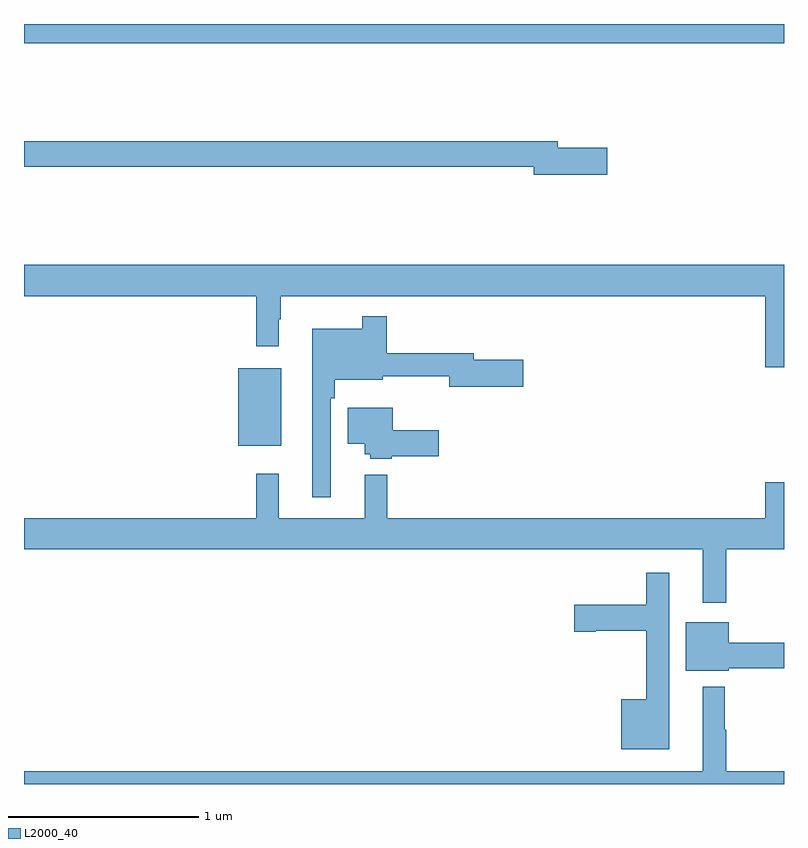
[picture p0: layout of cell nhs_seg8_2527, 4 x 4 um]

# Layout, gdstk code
import gdstk
lib = gdstk.Library(unit=1e-6, precision=1e-09)
def R(c, l, rs):  # rectangles x0, y0, x1, y1
    for r in rs: c.add(gdstk.rectangle(r[:2], r[2:], *l))
def P(c, l, *ps):  # polygons
    for p in ps: c.add(gdstk.Polygon(p, *l))
L2000_40 = (2000, 40)

nhs_seg8_2527 = lib.new_cell('nhs_seg8_2527')
R(nhs_seg8_2527, L2000_40, [(270.128,1147.679,270.355,1148.089), (269,1149.8,273,1149.9)])
P(nhs_seg8_2527, L2000_40, [(272.071,1149.248),(271.81,1149.248),(271.81,1149.284),(269,1149.284),(269,1149.148),(271.682,1149.148),(271.682,1149.106),(272.071,1149.106)],
  [(273,1148.632),(269,1148.632),(269,1148.468),(270.223,1148.468),(270.223,1148.205),(270.34,1148.205),(270.34,1148.345),(270.352,1148.345),(270.352,1148.468),(272.9,1148.468),(272.9,1148.094),(273,1148.094)],
  [(270.615,1147.931),(270.635,1147.931),(270.635,1148.027),(270.889,1148.027),(270.889,1148.046),(271.238,1148.046),(271.238,1147.991),(271.627,1147.991),(271.627,1148.133),(271.366,1148.133),(271.366,1148.167),(270.908,1148.167),(270.908,1148.362),(270.78,1148.362),(270.78,1148.296),(270.518,1148.296),(270.518,1147.41),(270.615,1147.41)],
  [(270.936,1147.624),(271.183,1147.624),(271.183,1147.761),(270.94,1147.761),(270.94,1147.879),(270.704,1147.879),(270.704,1147.691),(270.794,1147.691),(270.794,1147.635),(270.822,1147.635),(270.822,1147.613),(270.936,1147.613)],
  [(272.695,1147.136),(273,1147.136),(273,1147.489),(272.9,1147.489),(272.9,1147.3),(270.911,1147.3),(270.911,1147.528),(270.794,1147.528),(270.794,1147.3),(270.341,1147.3),(270.341,1147.534),(270.223,1147.534),(270.223,1147.3),(269,1147.3),(269,1147.136),(272.573,1147.136),(272.573,1146.855),(272.695,1146.855)],
  [(272.395,1147.012),(272.274,1147.012),(272.274,1146.843),(271.896,1146.843),(271.896,1146.701),(272.008,1146.701),(272.008,1146.706),(272.274,1146.706),(272.274,1146.346),(272.144,1146.346),(272.144,1146.083),(272.395,1146.083)],
  [(272.71,1146.508),(273,1146.508),(273,1146.644),(272.71,1146.644),(272.71,1146.751),(272.483,1146.751),(272.483,1146.497),(272.71,1146.497)],
  [(273,1145.968),(272.695,1145.968),(272.695,1146.185),(272.687,1146.185),(272.687,1146.412),(272.573,1146.412),(272.573,1145.968),(269,1145.968),(269,1145.9),(273,1145.9)])

lib.write_gds('nhs_seg8_2527.gds')
